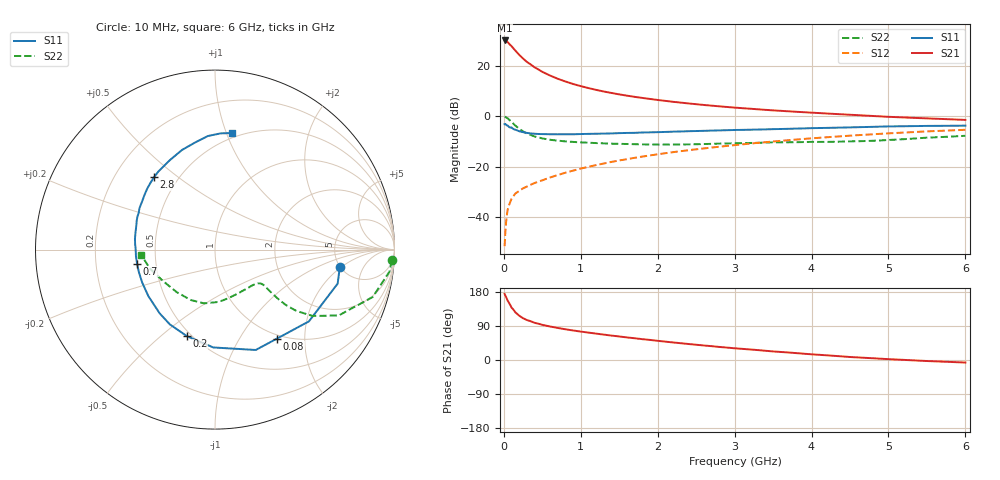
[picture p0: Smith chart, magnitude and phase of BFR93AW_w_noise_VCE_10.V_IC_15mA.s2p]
! Infineon Technologies  Discrete & RF Semiconductors
! BFR93AW
! VCE =  10. V,  IC =  15 mA
! Common Emitter S-Parameters:  Jan 2017
# GHz  S  MA  R  50
!  f  S11  S21  S12  S22
! GHz  MAG  ANG  MAG  ANG  MAG  ANG  MAG  ANG
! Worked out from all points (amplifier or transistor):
!   77 points, 10 MHz to 6 GHz, reference 50 ohm
!   highest |S21| = 30.3 dB at 10 MHz (marker M1)
!   |S21| within 3 dB of that: start of sweep to 120.5 MHz
!   unconditionally stable (mu >= 1): 773.1 MHz to 2.077 GHz
!   at 130 MHz: K = 0.37, MSG = 29.2 dB, |S12| = -31.5 dB
!   at 2.2 GHz: K = 0.99, MSG = 10.0 dB, |S12| = -14.2 dB
!   at 6 GHz: K = 0.85, MSG = 2.0 dB, |S12| = -5.3 dB
!   lowest NFmin = 1.37 dB at 450 MHz
!   S11 on the Smith chart (normalised r, x): 10 MHz: 4.97, -1.89; 80 MHz: 0.94, -1.47; 200 MHz: 0.47, -0.61; 700 MHz: 0.39, -0.08; 2.8 GHz: 0.37, +0.41; 6 GHz: 0.46, +1.05
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0.01  0.702 -7.9  32.73 174.5  0.0026 79.9  0.9872 -3.5
0.02  0.7092 -15.5  32.71 170.0  0.0051 82.2  0.9797 -7.2
0.05  0.6586 -37.4  30.29 156.4  0.014 74.0  0.9179 -16.7
0.08  0.6041 -55.1  26.92 146.3  0.0192 67.0  0.8321 -23.0
0.1  0.6036 -67.9  25.23 138.3  0.0228 64.1  0.7815 -28.0
0.15  0.5453 -91.0  20.51 125.7  0.0291 57.8  0.6575 -34.2
0.2  0.507 -108.0  16.89 116.9  0.033 56.4  0.5682 -37.0
0.25  0.4867 -121.1  14.25 110.2  0.037 54.8  0.5037 -38.0
0.3  0.4704 -130.9  12.22 105.4  0.0401 54.9  0.4567 -38.1
0.4  0.4528 -145.1  9.531 98.1  0.0472 57.5  0.3997 -37.4
0.5  0.4453 -155.5  7.75 92.8  0.0534 59.4  0.3651 -36.7
0.6  0.4424 -163.4  6.547 88.4  0.0607 60.8  0.3435 -36.2
0.7  0.4411 -169.8  5.649 84.6  0.068 63.3  0.3295 -36.1
0.9  0.4418 -179.8  4.44 77.9  0.0833 65.3  0.311 -37.2
1.1  0.4501 172.2  3.68 72.3  0.0992 66.4  0.2997 -39.3
1.5  0.4654 159.5  2.755 62.1  0.1328 66.9  0.2846 -46.4
2.1  0.4918 144.3  2.045 48.5  0.1853 64.9  0.2756 -61.9
2.8  0.5278 130.0  1.593 34.5  0.2495 60.4  0.2876 -82.6
3.1  0.5406 124.0  1.464 29.4  0.278 58.0  0.2941 -90.9
4.1  0.5883 106.7  1.168 13.7  0.376 48.5  0.311 -119.1
5.1  0.6361 92.4  0.97 1.3  0.4692 37.4  0.3456 -152.7
6  0.6564 81.6  0.854 -6.8  0.5426 26.9  0.4118 -175.9
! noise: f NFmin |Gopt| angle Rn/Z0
0.45  1.37  0.12  133  0.13
0.9  1.66  0.23  164  0.14
1.9  2.67  0.47  -144  0.2
2.4  3.3  0.54  -129  0.4
